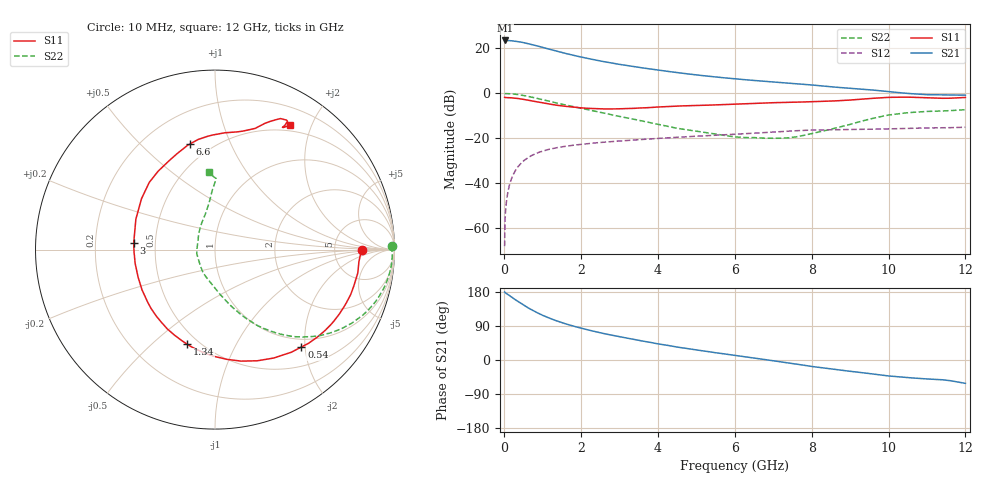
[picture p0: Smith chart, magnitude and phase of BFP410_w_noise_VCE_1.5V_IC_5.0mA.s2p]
! Infineon Technologies  Discrete & RF Semiconductors
! BFP410
! VCE =  1.5 V,  IC =  5.0 mA
! Common Emitter S-Parameters:  Nov 2015
# GHz  S  MA  R  50
!  f  S11  S21  S12  S22
! GHz  MAG  ANG  MAG  ANG  MAG  ANG  MAG  ANG
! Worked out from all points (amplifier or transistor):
!   243 points, 10 MHz to 12 GHz, reference 50 ohm
!   highest |S21| = 23.5 dB at 20 MHz (marker M1)
!   |S21| within 3 dB of that: start of sweep to 983 MHz
!   unconditionally stable (mu >= 1): 3.055 GHz to end of sweep
!   at 240 MHz: K = 0.09, MSG = 29.6 dB, |S12| = -35.9 dB
!   at 1.84 GHz: K = 0.64, MSG = 19.9 dB, |S12| = -23.0 dB
!   at 12 GHz: K = 1.07, MAG = 5.5 dB, |S12| = -15.1 dB
!   lowest NFmin = 1.00 dB at 900 MHz
!   S11 on the Smith chart (normalised r, x): 10 MHz: 9.98, -0.09; 540 MHz: 0.84, -1.93; 1.34 GHz: 0.43, -0.66; 3 GHz: 0.38, +0.03; 6.6 GHz: 0.39, +0.71; 12 GHz: 0.42, +1.70
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0.01  0.8179 -0.1  14.91 179.3  0.0004 120.2  0.9874 1.1
0.02  0.8122 -1.6  15.03 178.4  0.0015 88.5  0.9856 -0.5
0.08  0.8049 -7.3  14.95 173.9  0.0054 85.4  0.9871 -3.9
0.2  0.7963 -18.4  14.77 165.5  0.0134 80.7  0.9749 -10.1
0.3  0.78 -27.5  14.45 158.3  0.0198 76.4  0.9551 -15.0
0.4  0.7611 -36.3  14 151.5  0.0258 72.0  0.9293 -19.7
0.54  0.7256 -48.4  13.24 142.5  0.0333 66.5  0.8852 -25.7
0.7  0.6868 -61.6  12.33 133.1  0.041 61.0  0.8306 -32.1
0.9  0.6382 -76.8  11.14 122.6  0.0488 55.0  0.7597 -39.0
1.1  0.5937 -90.9  10 113.6  0.0552 50.1  0.6911 -44.8
1.34  0.5496 -106.2  8.804 104.1  0.0613 45.2  0.6175 -50.6
1.64  0.5099 -123.2  7.58 94.1  0.0674 40.7  0.5407 -56.4
2.02  0.4754 -142.3  6.376 83.6  0.074 36.3  0.4632 -62.3
2.44  0.4537 -161.9  5.386 73.2  0.0802 32.3  0.3883 -68.3
3  0.4544 175.4  4.417 61.3  0.0873 28.1  0.3074 -76.1
4.1  0.5017 143.0  3.216 41.1  0.101 21.5  0.1967 -94.3
5  0.5395 126.0  2.572 26.4  0.1116 16.1  0.1446 -117.4
6.1  0.58 109.9  2.072 10.8  0.1247 10.0  0.1063 -151.1
6.6  0.6042 103.5  1.907 3.7  0.1318 6.8  0.1026 -171.1
8.2  0.6595 82.2  1.482 -19.6  0.1537 -6.8  0.1389 128.1
10.2  0.8198 62.3  1.055 -43.8  0.1639 -20.4  0.3467 91.6
12  0.8112 58.8  0.912 -61.6  0.1765 -34.3  0.4334 94.6
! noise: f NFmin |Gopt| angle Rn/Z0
0.45  1.02  0.27  4  0.25
0.9  1  0.24  16  0.19
1.8  1.16  0.15  54  0.17
2.4  1.16  0.15  52  0.2
5.5  2.1  0.32  -125  0.21
10  3.4  0.67  -52  1.79
